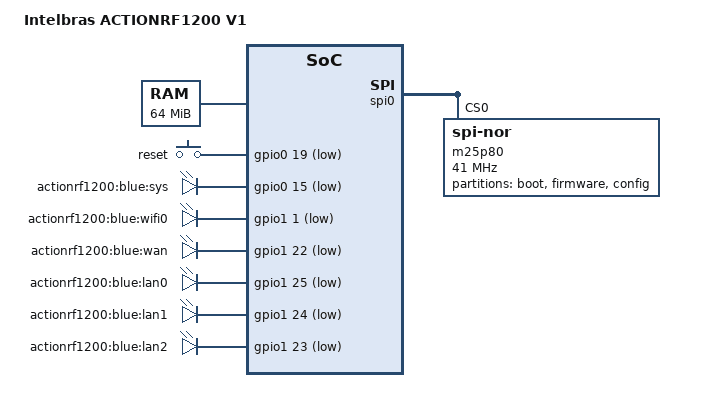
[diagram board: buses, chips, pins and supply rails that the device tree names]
// SPDX-License-Identifier: GPL-2.0
/dts-v1/;

#include "RTL8197F.dtsi"

#include <dt-bindings/gpio/gpio.h>
#include <dt-bindings/input/input.h>

/ {
	compatible = "intelbras,actionrf1200", "realtek,rtl8197f-soc";
	model = "Intelbras ACTIONRF1200 V1";

	aliases {
		led-boot = &led_status;
		led-failsafe = &led_status;
		led-running = &led_status;
		led-upgrade = &led_status;
	};

	memory {
		device_type = "memory";
		reg = <0x0 0x4000000>;
	};

	chosen {
		bootargs = "console=ttyS0,115200";
	};

	gpio-keys-polled {
		compatible = "gpio-keys-polled";
		#address-cells = <1>;
		#size-cells = <0>;
		poll-interval = <20>;

		reset {
			label = "reset";
			gpios = <&gpio0 19 GPIO_ACTIVE_LOW>;
			linux,code = <KEY_RESTART>;
		};
	};

	gpio-leds {
		compatible = "gpio-leds";

		led_status: sys {
			label = "actionrf1200:blue:sys";
			gpios = <&gpio0 15 GPIO_ACTIVE_LOW>;
		};

		wifi0 {
			label = "actionrf1200:blue:wifi0";
			gpios = <&gpio1 1 GPIO_ACTIVE_LOW>;
		};

		wan {
			label = "actionrf1200:blue:wan";
			gpios = <&gpio1 22 GPIO_ACTIVE_LOW>;
		};

		lan0 {
			label = "actionrf1200:blue:lan0";
			gpios = <&gpio1 25 GPIO_ACTIVE_LOW>;
		};

		lan1 {
			label = "actionrf1200:blue:lan1";
			gpios = <&gpio1 24 GPIO_ACTIVE_LOW>;
		};

		lan2 {
			label = "actionrf1200:blue:lan2";
			gpios = <&gpio1 23 GPIO_ACTIVE_LOW>;
		};
	};
};

&gpio0 {
	status = "okay";
};

&gpio1 {
	status = "okay";
};

&spi0 {
	status = "okay";

	m25p80@0 {
		#address-cells = <1>;
		#size-cells = <1>;
		compatible = "jedec,spi-nor";
		reg = <0>;
		spi-max-frequency = <41000000>;

		partition@0 {
			label = "boot";
			reg = <0x0 0x30000>;
			read-only;
		};

		partition@30000 {
			label = "firmware";
			reg = <0x30000 0x7B0000>;
		};

		partition@7E0000 {
			label = "config";
			reg = <0x7E0000 0x20000>;
			read-only;
		};
	};
};
